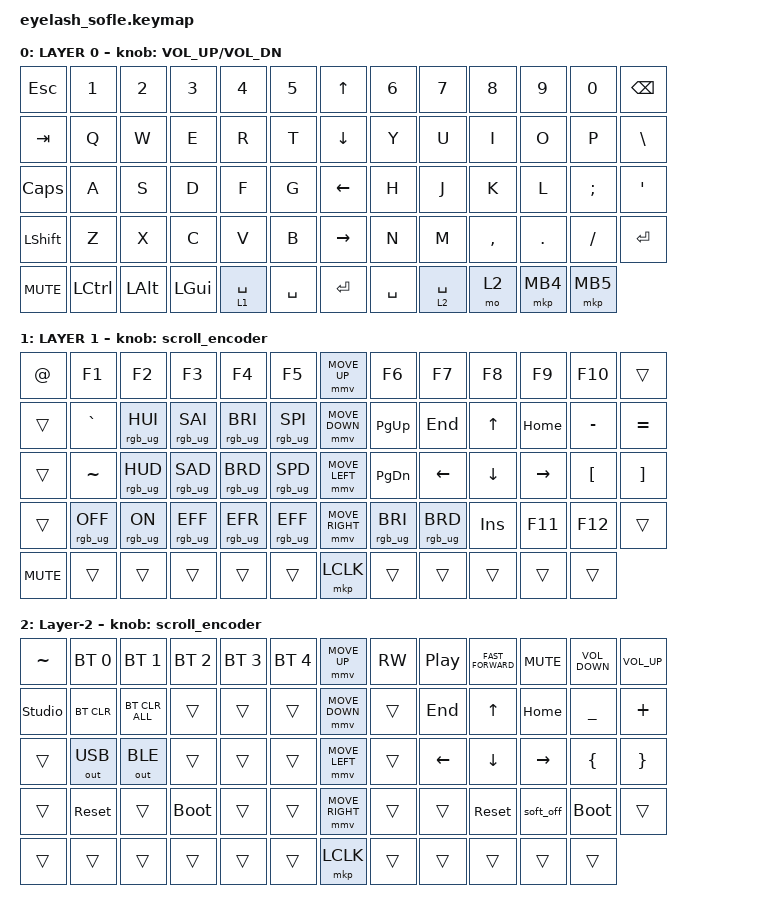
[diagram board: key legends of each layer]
#include <dt-bindings/zmk/mouse.h>
#include <input/processors.dtsi>
#include <behaviors.dtsi>
#include <dt-bindings/zmk/bt.h>
#include <dt-bindings/zmk/keys.h>
#include <dt-bindings/zmk/outputs.h>
#include <dt-bindings/zmk/pointing.h>
#include <dt-bindings/zmk/rgb.h>

/*

   &mmv_input_listener {
       input-processors = <&zip_xy_scaler 2 1>;
   };

   &msc_input_listener {
       input-processors = <&zip_xy_scaler 2 1>;
   };

 */

#define ZMK_MOUSE_DEFAULT_MOVE_VAL 1200  // 600
#define ZMK_MOUSE_DEFAULT_SCRL_VAL 20    // 10

/ {
    behaviors {
        mmv {
            acceleration-exponent = <1>;      // 1
            time-to-max-speed-ms = <900>;    // 40
            delay-ms = <0>;                   // 0
        };

        msc {
            acceleration-exponent = <1>;      // 0
            time-to-max-speed-ms = <400>;      // 500
            delay-ms = <0>;                   //   10
        };
    };

    scroll_encoder: scroll_encoder {
        compatible = "zmk,behavior-sensor-rotate";
        #sensor-binding-cells = <0>;
        bindings = <&msc SCRL_DOWN>, <&msc SCRL_UP>;

        tap-ms = <30>;
    };

    keymap {
        compatible = "zmk,keymap";

        Layer-0 {
            bindings = <
&kp ESC     &kp N1     &kp N2        &kp N3        &kp N4       &kp N5       &kp UP_ARROW     &kp N6     &kp N7       &kp N8     &kp N9    &kp N0    &kp BACKSPACE
&kp TAB     &kp Q      &kp W         &kp E         &kp R        &kp T        &kp DOWN_ARROW   &kp Y      &kp U        &kp I      &kp O     &kp P     &kp BSLH
&kp CAPS    &kp A      &kp S         &kp D         &kp F        &kp G        &kp LEFT_ARROW   &kp H      &kp J        &kp K      &kp L     &kp SEMI  &kp APOS
&kp LSHFT   &kp Z      &kp X         &kp C         &kp V        &kp B        &kp RIGHT_ARROW  &kp N      &kp M        &kp COMMA  &kp DOT   &kp FSLH  &kp ENTER
&kp C_MUTE  &kp LCTRL  &kp LEFT_ALT  &kp LEFT_GUI  &lt 1 SPACE  &kp SPACE    &kp ENTER        &kp SPACE  &lt 2 SPACE  &mo 2      &mkp MB4  &mkp MB5
            >;

            sensor-bindings = <&inc_dec_kp C_VOLUME_UP C_VOL_DN>;
            display-name = "LAYER 0";
        };

        Layer-1 {
            bindings = <
&kp AT      &kp F1           &kp F2           &kp F3           &kp F4           &kp F5             &mmv MOVE_UP     &kp F6           &kp F7           &kp F8      &kp F9     &kp F10           &trans
&trans      &kp GRAVE        &rgb_ug RGB_HUI  &rgb_ug RGB_SAI  &rgb_ug RGB_BRI  &rgb_ug RGB_SPI    &mmv MOVE_DOWN   &kp PG_UP        &kp END          &kp UP      &kp HOME   &kp MINUS         &kp EQUAL
&trans      &kp TILDE        &rgb_ug RGB_HUD  &rgb_ug RGB_SAD  &rgb_ug RGB_BRD  &rgb_ug RGB_SPD    &mmv MOVE_LEFT   &kp PG_DN        &kp LEFT         &kp DOWN    &kp RIGHT  &kp LEFT_BRACKET  &kp RIGHT_BRACKET
&trans      &rgb_ug RGB_OFF  &rgb_ug RGB_ON   &rgb_ug RGB_EFF  &rgb_ug RGB_EFR  &rgb_ug RGB_EFF    &mmv MOVE_RIGHT  &rgb_ug RGB_BRI  &rgb_ug RGB_BRD  &kp INSERT  &kp F11    &kp F12           &trans
&kp C_MUTE  &trans           &trans           &trans           &trans           &trans             &mkp LCLK        &trans           &trans           &trans      &trans     &trans
            >;

            display-name = "LAYER 1";
            sensor-bindings = <&scroll_encoder>;
        };

        Layer-2 {
            bindings = <
&kp TILDE       &bt BT_SEL 0  &bt BT_SEL 1    &bt BT_SEL 2  &bt BT_SEL 3  &bt BT_SEL 4    &mmv MOVE_UP     &kp C_RW  &kp C_PLAY_PAUSE  &kp C_FAST_FORWARD  &kp K_MUTE       &kp C_VOLUME_DOWN  &kp C_VOLUME_UP
&studio_unlock  &bt BT_CLR    &bt BT_CLR_ALL  &trans        &trans        &trans          &mmv MOVE_DOWN   &trans    &kp END           &kp UP_ARROW        &kp HOME         &kp UNDER          &kp PLUS
&trans          &out OUT_USB  &out OUT_BLE    &trans        &trans        &trans          &mmv MOVE_LEFT   &trans    &kp LEFT_ARROW    &kp DOWN_ARROW      &kp RIGHT_ARROW  &kp LBRC           &kp RBRC
&trans          &sys_reset    &trans          &bootloader   &trans        &trans          &mmv MOVE_RIGHT  &trans    &trans            &sys_reset          &soft_off        &bootloader        &trans
&trans          &trans        &trans          &trans        &trans        &trans          &mkp LCLK        &trans    &trans            &trans              &trans           &trans
            >;

            sensor-bindings = <&scroll_encoder>;
        };
    };
};
